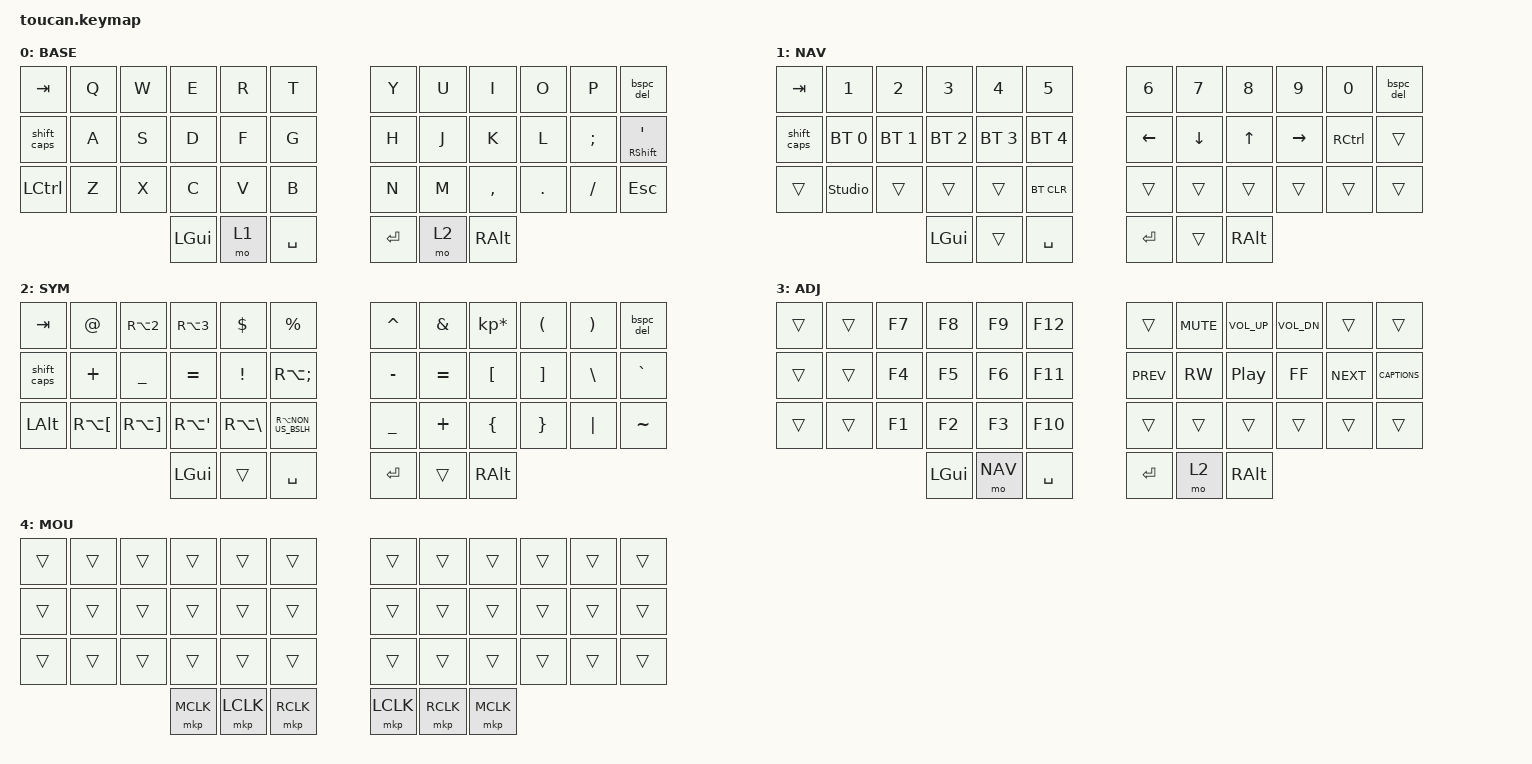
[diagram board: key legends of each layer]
#include <behaviors.dtsi>
#include <dt-bindings/zmk/keys.h>
#include <dt-bindings/zmk/bt.h>
#include <dt-bindings/zmk/outputs.h>
#include <dt-bindings/zmk/pointing.h>

#define BASE 0
#define NAV  1
#define SYM  2
#define ADJ  3

/ {
    behaviors {
        bspc_del: backspace_delete {
            compatible = "zmk,behavior-mod-morph";
            display-name = "BSPC_DEL";
            #binding-cells = <0>;
            bindings = <&kp BACKSPACE>, <&kp DELETE>;
            mods = <(MOD_LSFT|MOD_RSFT)>;
        };

        shift_caps: shift_caps {
            compatible = "zmk,behavior-tap-dance";
            display-name = "SHIFT_CAPS";
            #binding-cells = <0>;
            tapping-term-ms = <200>;
            bindings = <&kp LSHIFT>, <&kp CAPSLOCK>;
        };

        mt: mod_tap {
          tapping-term-ms = <220>;
        };
    };

    combos {
      compatible = "zmk,combos";

      // F (pos 16) + J (pos 19) -> caps_word
      caps_word_combo {
        timeout-ms = <50>;
        key-positions = <16 19>;
        bindings = <&caps_word>;
      };
    };

    conditional_layers {
        compatible = "zmk,conditional-layers";
        tri_layer {
            if-layers = <1 2>;
            then-layer = <3>;
        };
    };

    keymap {
        compatible = "zmk,keymap";

        base {
            display-name = "BASE";
            bindings = <
//    ┌─────────────┬───┬───┬───┬───┬───┐                                           ┌───┬───┬───┬───┬───┬───────────┐
//    │     tab     │ Q │ W │ E │ R │ T │                                           │ Y │ U │ I │ O │ P │ &bspc_del │
//    ├─────────────┼───┼───┼───┼───┼───┤                                           ├───┼───┼───┼───┼───┼───────────┤
//    │ &shift_caps │ A │ S │ D │ F │ G │                                           │ H │ J │ K │ L │ ; │ mt rsft ' │
//    ├─────────────┼───┼───┼───┼───┼───┤                                           ├───┼───┼───┼───┼───┼───────────┤
//    │    lctl     │ Z │ X │ C │ V │ B │                                           │ N │ M │ , │ . │ / │    esc    │
//    └─────────────┴───┴───┴───┴───┴───┼──────┬──────┬─────┐   ┌─────┬──────┬──────┼───┴───┴───┴───┴───┴───────────┘
//                                      │ lgui │ mo 1 │ spc │   │ ent │ mo 2 │ ralt │
//                                      └──────┴──────┴─────┘   └─────┴──────┴──────┘
  &kp TAB       &kp Q   &kp W   &kp E   &kp R   &kp T                                                                   &kp Y   &kp U   &kp I       &kp O     &kp P      &bspc_del
  &shift_caps   &kp A   &kp S   &kp D   &kp F   &kp G                                                                   &kp H   &kp J   &kp K       &kp L     &kp SEMI   &mt RSHIFT SQT
  &kp LCTRL     &kp Z   &kp X   &kp C   &kp V   &kp B                                                                   &kp N   &kp M   &kp COMMA   &kp DOT   &kp FSLH   &kp ESC
                                                        &kp LGUI   &mo 1   &kp SPACE       &kp RET   &mo 2   &kp RALT
            >;
        };

        nav {
            display-name = "NAV";
            bindings = <
//    ┌─────────────┬────────────────┬──────────┬──────────┬──────────┬──────────┐                                         ┌──────┬──────┬─────┬──────┬──────┬───────────┐
//    │     tab     │       1        │    2     │    3     │    4     │    5     │                                         │  6   │  7   │  8  │  9   │  0   │ &bspc_del │
//    ├─────────────┼────────────────┼──────────┼──────────┼──────────┼──────────┤                                         ├──────┼──────┼─────┼──────┼──────┼───────────┤
//    │ &shift_caps │    bt_sel 0    │ bt_sel 1 │ bt_sel 2 │ bt_sel 3 │ bt_sel 4 │                                         │ left │ down │ up  │ rght │ rctl │           │
//    ├─────────────┼────────────────┼──────────┼──────────┼──────────┼──────────┤                                         ├──────┼──────┼─────┼──────┼──────┼───────────┤
//    │             │ &studio_unlock │          │          │          │  bt_clr  │                                         │      │      │     │      │      │           │
//    └─────────────┴────────────────┴──────────┴──────────┴──────────┴──────────┼──────┬─────┬─────┐   ┌─────┬─────┬──────┼──────┴──────┴─────┴──────┴──────┴───────────┘
//                                                                               │ lgui │     │ spc │   │ ent │     │ ralt │
//                                                                               └──────┴─────┴─────┘   └─────┴─────┴──────┘
  &kp TAB       &kp N1           &kp N2         &kp N3         &kp N4         &kp N5                                                                           &kp N6     &kp N7     &kp N8   &kp N9      &kp N0      &bspc_del
  &shift_caps   &bt BT_SEL 0     &bt BT_SEL 1   &bt BT_SEL 2   &bt BT_SEL 3   &bt BT_SEL 4                                                                     &kp LEFT   &kp DOWN   &kp UP   &kp RIGHT   &kp RCTRL   &trans
  &trans        &studio_unlock   &trans         &trans         &trans         &bt BT_CLR                                                                       &trans     &trans     &trans   &trans      &trans      &trans
                                                                                             &kp LGUI   &trans   &kp SPACE       &kp RET   &trans   &kp RALT
            >;
        };

        sym {
            display-name = "SYM";
            bindings = <
//    ┌─────────────┬─────────┬─────────┬─────────┬─────────┬────────────┐                                         ┌───┬───┬──────┬───┬───┬───────────┐
//    │     tab     │    @    │ ralt(2) │ ralt(3) │    $    │     %      │                                         │ ^ │ & │ kp_* │ ( │ ) │ &bspc_del │
//    ├─────────────┼─────────┼─────────┼─────────┼─────────┼────────────┤                                         ├───┼───┼──────┼───┼───┼───────────┤
//    │ &shift_caps │    +    │    _    │    =    │    !    │  ralt(;)   │                                         │ - │ = │  [   │ ] │ \ │     `     │
//    ├─────────────┼─────────┼─────────┼─────────┼─────────┼────────────┤                                         ├───┼───┼──────┼───┼───┼───────────┤
//    │    lalt     │ ralt([) │ ralt(]) │ ralt(') │ ralt(\) │ ralt(iso\) │                                         │ _ │ + │  {   │ } │ | │     ~     │
//    └─────────────┴─────────┴─────────┴─────────┴─────────┴────────────┼──────┬─────┬─────┐   ┌─────┬─────┬──────┼───┴───┴──────┴───┴───┴───────────┘
//                                                                       │ lgui │     │ spc │   │ ent │     │ ralt │
//                                                                       └──────┴─────┴─────┘   └─────┴─────┴──────┘
  &kp TAB       &kp AT         &kp RA(N2)     &kp RA(N3)    &kp DLLR       &kp PRCNT                                                                               &kp CARET   &kp AMPS    &kp KP_MULTIPLY   &kp LPAR   &kp RPAR   &bspc_del
  &shift_caps   &kp PLUS       &kp UNDER      &kp EQUAL     &kp EXCL       &kp RA(SEMI)                                                                            &kp MINUS   &kp EQUAL   &kp LBKT          &kp RBKT   &kp BSLH   &kp GRAVE
  &kp LALT      &kp RA(LBKT)   &kp RA(RBKT)   &kp RA(SQT)   &kp RA(BSLH)   &kp RA(NON_US_BSLH)                                                                     &kp UNDER   &kp PLUS    &kp LBRC          &kp RBRC   &kp PIPE   &kp TILDE
                                                                                                 &kp LGUI   &trans   &kp SPACE       &kp RET   &trans   &kp RALT
            >;
        };

        adj {
            display-name = "ADJ";
            bindings = <
//    ┌─────┬─────┬────┬────┬────┬─────┐                                             ┌──────┬──────┬──────┬──────┬──────┬─────┐
//    │     │     │ f7 │ f8 │ f9 │ f12 │                                             │      │ mute │ volu │ vold │      │     │
//    ├─────┼─────┼────┼────┼────┼─────┤                                             ├──────┼──────┼──────┼──────┼──────┼─────┤
//    │     │     │ f4 │ f5 │ f6 │ f11 │                                             │ prev │  rw  │ play │  ff  │ next │ cc  │
//    ├─────┼─────┼────┼────┼────┼─────┤                                             ├──────┼──────┼──────┼──────┼──────┼─────┤
//    │     │     │ f1 │ f2 │ f3 │ f10 │                                             │      │      │      │      │      │     │
//    └─────┴─────┴────┴────┴────┴─────┼──────┬────────┬─────┐   ┌─────┬──────┬──────┼──────┴──────┴──────┴──────┴──────┴─────┘
//                                     │ lgui │ mo NAV │ spc │   │ ent │ mo 2 │ ralt │
//                                     └──────┴────────┴─────┘   └─────┴──────┴──────┘
  &trans   &trans   &kp F7   &kp F8   &kp F9   &kp F12                                                                     &trans       &kp K_MUTE   &kp K_VOL_UP       &kp K_VOL_DN   &trans       &trans
  &trans   &trans   &kp F4   &kp F5   &kp F6   &kp F11                                                                     &kp K_PREV   &kp C_RW     &kp C_PLAY_PAUSE   &kp C_FF       &kp K_NEXT   &kp C_CAPTIONS
  &trans   &trans   &kp F1   &kp F2   &kp F3   &kp F10                                                                     &trans       &trans       &trans             &trans         &trans       &trans
                                                         &kp LGUI   &mo NAV   &kp SPACE       &kp RET   &mo 2   &kp RALT
            >;
        };

        mouse {
            display-name = "MOU";
            bindings = <
//    ┌─────┬─────┬─────┬─────┬─────┬─────┐                                             ┌─────┬─────┬─────┬─────┬─────┬─────┐
//    │     │     │     │     │     │     │                                             │     │     │     │     │     │     │
//    ├─────┼─────┼─────┼─────┼─────┼─────┤                                             ├─────┼─────┼─────┼─────┼─────┼─────┤
//    │     │     │     │     │     │     │                                             │     │     │     │     │     │     │
//    ├─────┼─────┼─────┼─────┼─────┼─────┤                                             ├─────┼─────┼─────┼─────┼─────┼─────┤
//    │     │     │     │     │     │     │                                             │     │     │     │     │     │     │
//    └─────┴─────┴─────┴─────┴─────┴─────┼──────┬──────┬──────┐   ┌──────┬──────┬──────┼─────┴─────┴─────┴─────┴─────┴─────┘
//                                        │ mclk │ lclk │ rclk │   │ lclk │ rclk │ mclk │
//                                        └──────┴──────┴──────┘   └──────┴──────┴──────┘
  &trans   &trans   &trans   &trans   &trans   &trans                                                                               &trans   &trans   &trans   &trans   &trans   &trans
  &trans   &trans   &trans   &trans   &trans   &trans                                                                               &trans   &trans   &trans   &trans   &trans   &trans
  &trans   &trans   &trans   &trans   &trans   &trans                                                                               &trans   &trans   &trans   &trans   &trans   &trans
                                                        &mkp MCLK   &mkp LCLK   &mkp RCLK       &mkp LCLK   &mkp RCLK   &mkp MCLK
            >;
        };

        extra_2 {
                status = "reserved";
        };

        extra_3 {
                status = "reserved";
        };
    };
};
